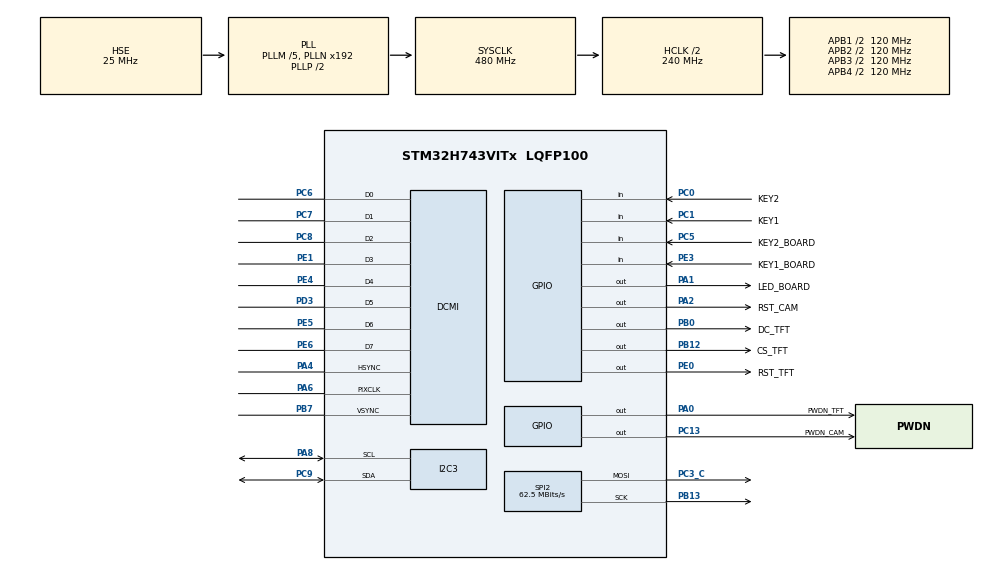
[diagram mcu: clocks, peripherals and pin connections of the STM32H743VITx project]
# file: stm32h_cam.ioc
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CORTEX_M7.CPU_DCache=Enabled
CORTEX_M7.CPU_ICache=Enabled
DCMI.JPEGMode=DCMI_JPEG_DISABLE
DCMI.PCKPolarity=DCMI_PCKPOLARITY_RISING
Dma.DCMI.1.Direction=DMA_PERIPH_TO_MEMORY
Dma.DCMI.1.EventEnable=DISABLE
Dma.DCMI.1.FIFOMode=DMA_FIFOMODE_ENABLE
Dma.DCMI.1.FIFOThreshold=DMA_FIFO_THRESHOLD_FULL
Dma.DCMI.1.Instance=DMA2_Stream1
Dma.DCMI.1.MemBurst=DMA_MBURST_SINGLE
Dma.DCMI.1.MemDataAlignment=DMA_MDATAALIGN_BYTE
Dma.DCMI.1.MemInc=DMA_MINC_ENABLE
Dma.DCMI.1.Mode=DMA_CIRCULAR
Dma.DCMI.1.PeriphBurst=DMA_PBURST_SINGLE
Dma.DCMI.1.PeriphDataAlignment=DMA_PDATAALIGN_WORD
Dma.DCMI.1.PeriphInc=DMA_PINC_DISABLE
Dma.DCMI.1.Polarity=HAL_DMAMUX_REQ_GEN_RISING
Dma.DCMI.1.Priority=DMA_PRIORITY_VERY_HIGH
Dma.DCMI.1.RequestNumber=1
Dma.DCMI.1.SignalID=NONE
Dma.DCMI.1.SyncEnable=DISABLE
Dma.DCMI.1.SyncPolarity=HAL_DMAMUX_SYNC_NO_EVENT
Dma.DCMI.1.SyncRequestNumber=1
Dma.DCMI.1.SyncSignalID=NONE
Dma.Request0=SPI2_TX
Dma.Request1=DCMI
Dma.SPI2_TX.0.Direction=DMA_MEMORY_TO_PERIPH
Dma.SPI2_TX.0.EventEnable=DISABLE
Dma.SPI2_TX.0.FIFOMode=DMA_FIFOMODE_DISABLE
Dma.SPI2_TX.0.Instance=DMA1_Stream7
Dma.SPI2_TX.0.MemDataAlignment=DMA_MDATAALIGN_BYTE
Dma.SPI2_TX.0.MemInc=DMA_MINC_ENABLE
Dma.SPI2_TX.0.Mode=DMA_NORMAL
Dma.SPI2_TX.0.PeriphDataAlignment=DMA_PDATAALIGN_BYTE
Dma.SPI2_TX.0.PeriphInc=DMA_PINC_DISABLE
Dma.SPI2_TX.0.Polarity=HAL_DMAMUX_REQ_GEN_RISING
Dma.SPI2_TX.0.Priority=DMA_PRIORITY_HIGH
Dma.SPI2_TX.0.RequestNumber=1
Dma.SPI2_TX.0.SignalID=NONE
Dma.SPI2_TX.0.SyncEnable=DISABLE
Dma.SPI2_TX.0.SyncPolarity=HAL_DMAMUX_SYNC_NO_EVENT
Dma.SPI2_TX.0.SyncRequestNumber=1
Dma.SPI2_TX.0.SyncSignalID=NONE
I2C3.Analog_Filter=I2C_ANALOGFILTER_ENABLE
I2C3.I2C_Coeff_DF=0
I2C3.I2C_Fall_Time=300
I2C3.I2C_Rise_Time=300
I2C3.Timing=0x70843A4F
Mcu.Family=STM32H7
Mcu.Name=STM32H743VITx
Mcu.Package=LQFP100
NVIC.DMA1_Stream7_IRQn=true\:0\:0\:false\:false\:true\:false\:true\:true
NVIC.DMA2_Stream1_IRQn=true\:0\:0\:false\:false\:true\:false\:true\:true
NVIC.PriorityGroup=NVIC_PRIORITYGROUP_4
NVIC.SPI2_IRQn=true\:0\:0\:false\:false\:true\:false\:true\:true
PA0.GPIO_Label=PWDN_TFT
PA0.GPIO_ModeDefaultOutputPP=GPIO_MODE_OUTPUT_OD
PA0.GPIO_PuPd=GPIO_PULLUP
PA0.PinState=GPIO_PIN_SET
PA0.Signal=GPIO_Output
PA1.GPIO_Label=LED_BOARD
PA1.Signal=GPIO_Output
PA13\ (JTMS/SWDIO).Mode=Serial_Wire
PA13\ (JTMS/SWDIO).Signal=DEBUG_JTMS-SWDIO
PA14\ (JTCK/SWCLK).Mode=Serial_Wire
PA14\ (JTCK/SWCLK).Signal=DEBUG_JTCK-SWCLK
PA2.GPIO_Label=RST_CAM
PA2.Signal=GPIO_Output
PA4.Mode=Slave_8_bits_External_Synchro
PA4.Signal=DCMI_HSYNC
PA6.Mode=Slave_8_bits_External_Synchro
PA6.Signal=DCMI_PIXCLK
PA8.Mode=I2C
PA8.Signal=I2C3_SCL
PB0.GPIO_Label=DC_TFT
PB0.GPIO_PuPd=GPIO_PULLUP
PB0.PinState=GPIO_PIN_SET
PB0.Signal=GPIO_Output
PB12.GPIO_Label=CS_TFT
PB12.GPIO_PuPd=GPIO_PULLUP
PB12.PinState=GPIO_PIN_SET
PB12.Signal=GPIO_Output
PB13.GPIO_Speed=GPIO_SPEED_FREQ_VERY_HIGH
PB13.Mode=TX_Only_Simplex_Unidirect_Master
PB13.Signal=SPI2_SCK
PB6.Signal=QUADSPI_BK1_NCS
PB7.Mode=Slave_8_bits_External_Synchro
PB7.Signal=DCMI_VSYNC
PC0.GPIO_Label=KEY2
PC0.Signal=GPIO_Input
PC1.GPIO_Label=KEY1
PC1.Signal=GPIO_Input
PC13.GPIO_Label=PWDN_CAM
PC13.PinState=GPIO_PIN_SET
PC13.Signal=GPIO_Output
PC14-OSC32_IN\ (OSC32_IN).Mode=LSE-External-Oscillator
PC14-OSC32_IN\ (OSC32_IN).Signal=RCC_OSC32_IN
PC15-OSC32_OUT\ (OSC32_OUT).Mode=LSE-External-Oscillator
PC15-OSC32_OUT\ (OSC32_OUT).Signal=RCC_OSC32_OUT
PC3_C.GPIO_Speed=GPIO_SPEED_FREQ_VERY_HIGH
PC3_C.Mode=TX_Only_Simplex_Unidirect_Master
PC3_C.Signal=SPI2_MOSI
PC5.GPIO_Label=KEY2_BOARD
PC5.Signal=GPIO_Input
PC6.Mode=Slave_8_bits_External_Synchro
PC6.Signal=DCMI_D0
PC7.Mode=Slave_8_bits_External_Synchro
PC7.Signal=DCMI_D1
PC8.Mode=Slave_8_bits_External_Synchro
PC8.Signal=DCMI_D2
PC9.Mode=I2C
PC9.Signal=I2C3_SDA
PD13.Signal=QUADSPI_BK1_IO3
PD3.Mode=Slave_8_bits_External_Synchro
PD3.Signal=DCMI_D5
PE0.GPIO_Label=RST_TFT
PE0.GPIO_PuPd=GPIO_PULLUP
PE0.PinState=GPIO_PIN_SET
PE0.Signal=GPIO_Output
PE1.Mode=Slave_8_bits_External_Synchro
PE1.Signal=DCMI_D3
PE3.GPIO_Label=KEY1_BOARD
PE3.Signal=GPIO_Input
PE4.Mode=Slave_8_bits_External_Synchro
PE4.Signal=DCMI_D4
PE5.Mode=Slave_8_bits_External_Synchro
PE5.Signal=DCMI_D6
PE6.Mode=Slave_8_bits_External_Synchro
PE6.Signal=DCMI_D7
PH0-OSC_IN\ (PH0).Mode=HSE-External-Oscillator
PH0-OSC_IN\ (PH0).Signal=RCC_OSC_IN
PH1-OSC_OUT\ (PH1).Mode=HSE-External-Oscillator
PH1-OSC_OUT\ (PH1).Signal=RCC_OSC_OUT
ProjectManager.HeapSize=0x200
ProjectManager.StackSize=0x400
ProjectManager.TargetToolchain=STM32CubeIDE
RCC.ADCFreq_Value=125000000
RCC.APB1Freq_Value=120000000
RCC.APB2Freq_Value=120000000
RCC.APB3Freq_Value=120000000
RCC.APB4Freq_Value=120000000
RCC.CortexFreq_Value=480000000
RCC.D1PPRE=RCC_APB3_DIV2
RCC.D2PPRE1=RCC_APB1_DIV2
RCC.D2PPRE2=RCC_APB2_DIV2
RCC.D3PPRE=RCC_APB4_DIV2
RCC.DIVM1=5
RCC.DIVM2=4
RCC.DIVN1=192
RCC.DIVN2=100
RCC.DIVP2=5
RCC.DIVQ1=20
RCC.HCLKFreq_Value=240000000
RCC.HPRE=RCC_HCLK_DIV2
RCC.PLLFRACN=0
RCC.PLLSourceVirtual=RCC_PLLSOURCE_HSE
RCC.RTCClockSelection=RCC_RTCCLKSOURCE_LSE
RCC.SPI123CLockSelection=RCC_SPI123CLKSOURCE_PLL2
RCC.SYSCLKFreq_VALUE=480000000
RCC.SYSCLKSource=RCC_SYSCLKSOURCE_PLLCLK
RCC.USBFreq_Value=48000000
SPI2.BaudRatePrescaler=SPI_BAUDRATEPRESCALER_2
SPI2.CalculateBaudRate=62.5 MBits/s
SPI2.DataSize=SPI_DATASIZE_8BIT
SPI2.Direction=SPI_DIRECTION_2LINES_TXONLY
SPI2.Mode=SPI_MODE_MASTER
SPI2.NSSPMode=SPI_NSS_PULSE_ENABLE
SPI2.VirtualType=VM_MASTER
VP_CRC_VS_CRC.Mode=CRC_Activate
VP_RTC_VS_RTC_Activate.Mode=RTC_Enabled
board=custom

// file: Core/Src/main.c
/* USER CODE BEGIN Header */
/**
  ******************************************************************************
  * @file           : main.c
  * @brief          : Main program body
  ******************************************************************************
  * @attention
  *
  * Copyright (c) 2022 STMicroelectronics.
  * All rights reserved.
  *
  * This software is licensed under terms that can be found in the LICENSE file
  * in the root directory of this software component.
  * If no LICENSE file comes with this software, it is provided AS-IS.
  *
  ******************************************************************************
  */
/* USER CODE END Header */
#include "main.h"

/* USER CODE BEGIN Includes */
#include "stdio.h"
#include "../Src/OV2640/ov2640.h"
#include "../Src/OV2640/ov2640_regs.h"
/* USER CODE END Includes */

CRC_HandleTypeDef hcrc;

DCMI_HandleTypeDef hdcmi;
DMA_HandleTypeDef hdma_dcmi;

I2C_HandleTypeDef hi2c3;

RTC_HandleTypeDef hrtc;

SPI_HandleTypeDef hspi2;
DMA_HandleTypeDef hdma_spi2_tx;

/* USER CODE BEGIN PV */
sensor_t sensor = {0};
//Streem_State_t SPI_State;
//Streem_State_t DCMI_State;
//defined in sensor.h

#if defined RGB565_128X128
__attribute__((section(".frame_buffer")))int8_t imag[RGB565_128X128_BUF_SIZE] = {0};
#elif defined RGB565_160X160
__attribute__((section(".frame_buffer")))int8_t imag[RGB565_160X160_BUF_SIZE] = {0};
#elif defined RGB565_QVGA
__attribute__((section(".frame_buffer")))int8_t imag[RGB565_QVGA_BUF_SIZE] = {0};
#elif defined RGB565_VGA
int8_t imag[RGB565_VGA_BUF_SIZE] = {0};
#endif
/* USER CODE END PV */

void SystemClock_Config(void);
static void MX_GPIO_Init(void);
static void MX_DCMI_Init(void);
static void MX_DMA_Init(void);
static void MX_SPI2_Init(void);
static void MX_I2C3_Init(void);
static void MX_RTC_Init(void);
static void MX_CRC_Init(void);
/* USER CODE BEGIN PFP */
static void sensor_setting(I2C_HandleTypeDef *camera_i2c);
void mySystemClock_Config(void);
/* USER CODE END PFP */

int main(void)
{

  /* Enable I-Cache---------------------------------------------------------*/
  SCB_EnableICache();

  /* Enable D-Cache---------------------------------------------------------*/
  SCB_EnableDCache();

  /* MCU Configuration--------------------------------------------------------*/

  /* Reset of all peripherals, Initializes the Flash interface and the Systick. */
  HAL_Init();

  /* Configure the system clock */
  SystemClock_Config();

  /* USER CODE BEGIN SysInit */
// Не правильно сначала должно быть инициализация MX_DMA_Init(); потом   MX_DCMI_Init();
   MX_DMA_Init();
   MX_DCMI_Init();
  /* USER CODE END SysInit */

  /* Initialize all configured peripherals */
  MX_GPIO_Init();
  MX_DCMI_Init();
  MX_DMA_Init();
  MX_SPI2_Init();
  MX_I2C3_Init();
  MX_RTC_Init();
  MX_CRC_Init();
  /* USER CODE BEGIN 2 */

   HAL_GPIO_WritePin(RST_CAM_GPIO_Port, RST_CAM_Pin, GPIO_PIN_SET);
   HAL_GPIO_WritePin(PWDN_CAM_GPIO_Port, PWDN_CAM_Pin, GPIO_PIN_RESET);
   sensor_setting(&hi2c3);

  ILI9341_Init();
//  HAL_GPIO_WritePin(LED_BOARD_GPIO_Port, LED_BOARD_Pin, GPIO_PIN_RESET); // Установить светодиод  1
  HAL_GPIO_WritePin(PWDN_TFT_GPIO_Port, PWDN_TFT_Pin, GPIO_PIN_RESET);     // Включить подсветку дисплея
  ILI9341_FillScreen(WHITE);
  ILI9341_SetRotation(SCREEN_HORIZONTAL_1);
  ILI9341_DrawHLine(0, 225, 320, RED);
  ILI9341_DrawText("Start testing", FONT2, 2, 226, BLACK, WHITE);

  uint32_t old_time, fps;
  char buf[64];
  /* USER CODE END 2 */

  /* Infinite loop */
  /* USER CODE BEGIN WHILE */
  while (1)
  {
	         old_time=HAL_GetTick();
		     sensor.snapshot(hdcmi, (int32_t *)imag);
		     ILI9341_render320x240((uint16_t *)imag,240-15);
		     fps=HAL_GetTick()-old_time;
		     sprintf(buf,"FPS=%d      ",(int)(1000/fps));
		     ILI9341_DrawText(buf, FONT2, 2, 226, BLACK, WHITE);

    /* USER CODE END WHILE */

  }
}

void SystemClock_Config(void)
{
  RCC_OscInitTypeDef RCC_OscInitStruct = {0};
  RCC_ClkInitTypeDef RCC_ClkInitStruct = {0};

  /** Supply configuration update enable
  */
  HAL_PWREx_ConfigSupply(PWR_LDO_SUPPLY);
  /** Configure the main internal regulator output voltage
  */
  __HAL_PWR_VOLTAGESCALING_CONFIG(PWR_REGULATOR_VOLTAGE_SCALE0);

  while(!__HAL_PWR_GET_FLAG(PWR_FLAG_VOSRDY)) {}
  /** Configure LSE Drive Capability
  */
  HAL_PWR_EnableBkUpAccess();
  __HAL_RCC_LSEDRIVE_CONFIG(RCC_LSEDRIVE_LOW);
  /** Macro to configure the PLL clock source
  */
  __HAL_RCC_PLL_PLLSOURCE_CONFIG(RCC_PLLSOURCE_HSE);
  /** Initializes the RCC Oscillators according to the specified parameters
  * in the RCC_OscInitTypeDef structure.
  */
  RCC_OscInitStruct.OscillatorType = RCC_OSCILLATORTYPE_HSE|RCC_OSCILLATORTYPE_LSE;
  RCC_OscInitStruct.HSEState = RCC_HSE_ON;
  RCC_OscInitStruct.LSEState = RCC_LSE_ON;
  RCC_OscInitStruct.PLL.PLLState = RCC_PLL_ON;
  RCC_OscInitStruct.PLL.PLLSource = RCC_PLLSOURCE_HSE;
  RCC_OscInitStruct.PLL.PLLM = 5;
  RCC_OscInitStruct.PLL.PLLN = 192;
  RCC_OscInitStruct.PLL.PLLP = 2;
  RCC_OscInitStruct.PLL.PLLQ = 20;
  RCC_OscInitStruct.PLL.PLLR = 2;
  RCC_OscInitStruct.PLL.PLLRGE = RCC_PLL1VCIRANGE_2;
  RCC_OscInitStruct.PLL.PLLVCOSEL = RCC_PLL1VCOWIDE;
  RCC_OscInitStruct.PLL.PLLFRACN = 0;
  if (HAL_RCC_OscConfig(&RCC_OscInitStruct) != HAL_OK)
  {
    Error_Handler();
  }
  /** Initializes the CPU, AHB and APB buses clocks
  */
  RCC_ClkInitStruct.ClockType = RCC_CLOCKTYPE_HCLK|RCC_CLOCKTYPE_SYSCLK
                              |RCC_CLOCKTYPE_PCLK1|RCC_CLOCKTYPE_PCLK2
                              |RCC_CLOCKTYPE_D3PCLK1|RCC_CLOCKTYPE_D1PCLK1;
  RCC_ClkInitStruct.SYSCLKSource = RCC_SYSCLKSOURCE_PLLCLK;
  RCC_ClkInitStruct.SYSCLKDivider = RCC_SYSCLK_DIV1;
  RCC_ClkInitStruct.AHBCLKDivider = RCC_HCLK_DIV2;
  RCC_ClkInitStruct.APB3CLKDivider = RCC_APB3_DIV2;
  RCC_ClkInitStruct.APB1CLKDivider = RCC_APB1_DIV2;
  RCC_ClkInitStruct.APB2CLKDivider = RCC_APB2_DIV2;
  RCC_ClkInitStruct.APB4CLKDivider = RCC_APB4_DIV2;

  if (HAL_RCC_ClockConfig(&RCC_ClkInitStruct, FLASH_LATENCY_4) != HAL_OK)
  {
    Error_Handler();
  }
}

static void MX_CRC_Init(void)
{

  hcrc.Instance = CRC;
  hcrc.Init.DefaultPolynomialUse = DEFAULT_POLYNOMIAL_ENABLE;
  hcrc.Init.DefaultInitValueUse = DEFAULT_INIT_VALUE_ENABLE;
  hcrc.Init.InputDataInversionMode = CRC_INPUTDATA_INVERSION_NONE;
  hcrc.Init.OutputDataInversionMode = CRC_OUTPUTDATA_INVERSION_DISABLE;
  hcrc.InputDataFormat = CRC_INPUTDATA_FORMAT_BYTES;
  if (HAL_CRC_Init(&hcrc) != HAL_OK)
  {
    Error_Handler();
  }

}

static void MX_DCMI_Init(void)
{

  hdcmi.Instance = DCMI;
  hdcmi.Init.SynchroMode = DCMI_SYNCHRO_HARDWARE;
  hdcmi.Init.PCKPolarity = DCMI_PCKPOLARITY_RISING;
  hdcmi.Init.VSPolarity = DCMI_VSPOLARITY_LOW;
  hdcmi.Init.HSPolarity = DCMI_HSPOLARITY_LOW;
  hdcmi.Init.CaptureRate = DCMI_CR_ALL_FRAME;
  hdcmi.Init.ExtendedDataMode = DCMI_EXTEND_DATA_8B;
  hdcmi.Init.JPEGMode = DCMI_JPEG_DISABLE;
  hdcmi.Init.ByteSelectMode = DCMI_BSM_ALL;
  hdcmi.Init.ByteSelectStart = DCMI_OEBS_ODD;
  hdcmi.Init.LineSelectMode = DCMI_LSM_ALL;
  hdcmi.Init.LineSelectStart = DCMI_OELS_ODD;
  if (HAL_DCMI_Init(&hdcmi) != HAL_OK)
  {
    Error_Handler();
  }

}

static void MX_I2C3_Init(void)
{

  hi2c3.Instance = I2C3;
  hi2c3.Init.Timing = 0x70843A4F;
  hi2c3.Init.OwnAddress1 = 0;
  hi2c3.Init.AddressingMode = I2C_ADDRESSINGMODE_7BIT;
  hi2c3.Init.DualAddressMode = I2C_DUALADDRESS_DISABLE;
  hi2c3.Init.OwnAddress2 = 0;
  hi2c3.Init.OwnAddress2Masks = I2C_OA2_NOMASK;
  hi2c3.Init.GeneralCallMode = I2C_GENERALCALL_DISABLE;
  hi2c3.Init.NoStretchMode = I2C_NOSTRETCH_DISABLE;
  if (HAL_I2C_Init(&hi2c3) != HAL_OK)
  {
    Error_Handler();
  }
  /** Configure Analogue filter
  */
  if (HAL_I2CEx_ConfigAnalogFilter(&hi2c3, I2C_ANALOGFILTER_ENABLE) != HAL_OK)
  {
    Error_Handler();
  }
  /** Configure Digital filter
  */
  if (HAL_I2CEx_ConfigDigitalFilter(&hi2c3, 0) != HAL_OK)
  {
    Error_Handler();
  }

}

static void MX_RTC_Init(void)
{

  /** Initialize RTC Only
  */
  hrtc.Instance = RTC;
  hrtc.Init.HourFormat = RTC_HOURFORMAT_24;
  hrtc.Init.AsynchPrediv = 127;
  hrtc.Init.SynchPrediv = 255;
  hrtc.Init.OutPut = RTC_OUTPUT_DISABLE;
  hrtc.Init.OutPutPolarity = RTC_OUTPUT_POLARITY_HIGH;
  hrtc.Init.OutPutType = RTC_OUTPUT_TYPE_OPENDRAIN;
  hrtc.Init.OutPutRemap = RTC_OUTPUT_REMAP_NONE;
  if (HAL_RTC_Init(&hrtc) != HAL_OK)
  {
    Error_Handler();
  }

}

static void MX_SPI2_Init(void)
{

  /* SPI2 parameter configuration*/
  hspi2.Instance = SPI2;
  hspi2.Init.Mode = SPI_MODE_MASTER;
  hspi2.Init.Direction = SPI_DIRECTION_2LINES_TXONLY;
  hspi2.Init.DataSize = SPI_DATASIZE_8BIT;
  hspi2.Init.CLKPolarity = SPI_POLARITY_LOW;
  hspi2.Init.CLKPhase = SPI_PHASE_1EDGE;
  hspi2.Init.NSS = SPI_NSS_SOFT;
  hspi2.Init.BaudRatePrescaler = SPI_BAUDRATEPRESCALER_2;
  hspi2.Init.FirstBit = SPI_FIRSTBIT_MSB;
  hspi2.Init.TIMode = SPI_TIMODE_DISABLE;
  hspi2.Init.CRCCalculation = SPI_CRCCALCULATION_DISABLE;
  hspi2.Init.CRCPolynomial = 0x0;
  hspi2.Init.NSSPMode = SPI_NSS_PULSE_ENABLE;
  hspi2.Init.NSSPolarity = SPI_NSS_POLARITY_LOW;
  hspi2.Init.FifoThreshold = SPI_FIFO_THRESHOLD_01DATA;
  hspi2.Init.TxCRCInitializationPattern = SPI_CRC_INITIALIZATION_ALL_ZERO_PATTERN;
  hspi2.Init.RxCRCInitializationPattern = SPI_CRC_INITIALIZATION_ALL_ZERO_PATTERN;
  hspi2.Init.MasterSSIdleness = SPI_MASTER_SS_IDLENESS_00CYCLE;
  hspi2.Init.MasterInterDataIdleness = SPI_MASTER_INTERDATA_IDLENESS_00CYCLE;
  hspi2.Init.MasterReceiverAutoSusp = SPI_MASTER_RX_AUTOSUSP_DISABLE;
  hspi2.Init.MasterKeepIOState = SPI_MASTER_KEEP_IO_STATE_DISABLE;
  hspi2.Init.IOSwap = SPI_IO_SWAP_DISABLE;
  if (HAL_SPI_Init(&hspi2) != HAL_OK)
  {
    Error_Handler();
  }

}

static void MX_DMA_Init(void)
{

  /* DMA controller clock enable */
  __HAL_RCC_DMA1_CLK_ENABLE();
  __HAL_RCC_DMA2_CLK_ENABLE();

  /* DMA interrupt init */
  /* DMA1_Stream7_IRQn interrupt configuration */
  HAL_NVIC_SetPriority(DMA1_Stream7_IRQn, 0, 0);
  HAL_NVIC_EnableIRQ(DMA1_Stream7_IRQn);
  /* DMA2_Stream1_IRQn interrupt configuration */
  HAL_NVIC_SetPriority(DMA2_Stream1_IRQn, 0, 0);
  HAL_NVIC_EnableIRQ(DMA2_Stream1_IRQn);

}

static void MX_GPIO_Init(void)
{
  GPIO_InitTypeDef GPIO_InitStruct = {0};

  /* GPIO Ports Clock Enable */
  __HAL_RCC_GPIOE_CLK_ENABLE();
  __HAL_RCC_GPIOC_CLK_ENABLE();
  __HAL_RCC_GPIOH_CLK_ENABLE();
  __HAL_RCC_GPIOA_CLK_ENABLE();
  __HAL_RCC_GPIOB_CLK_ENABLE();
  __HAL_RCC_GPIOD_CLK_ENABLE();

  /*Configure GPIO pin Output Level */
  HAL_GPIO_WritePin(PWDN_CAM_GPIO_Port, PWDN_CAM_Pin, GPIO_PIN_SET);

  /*Configure GPIO pin Output Level */
  HAL_GPIO_WritePin(PWDN_TFT_GPIO_Port, PWDN_TFT_Pin, GPIO_PIN_SET);

  /*Configure GPIO pin Output Level */
  HAL_GPIO_WritePin(GPIOA, LED_BOARD_Pin|RST_CAM_Pin, GPIO_PIN_RESET);

  /*Configure GPIO pin Output Level */
  HAL_GPIO_WritePin(GPIOB, DC_TFT_Pin|CS_TFT_Pin, GPIO_PIN_SET);

  /*Configure GPIO pin Output Level */
  HAL_GPIO_WritePin(RST_TFT_GPIO_Port, RST_TFT_Pin, GPIO_PIN_SET);

  /*Configure GPIO pin : KEY1_BOARD_Pin */
  GPIO_InitStruct.Pin = KEY1_BOARD_Pin;
  GPIO_InitStruct.Mode = GPIO_MODE_INPUT;
  GPIO_InitStruct.Pull = GPIO_NOPULL;
  HAL_GPIO_Init(KEY1_BOARD_GPIO_Port, &GPIO_InitStruct);

  /*Configure GPIO pin : PWDN_CAM_Pin */
  GPIO_InitStruct.Pin = PWDN_CAM_Pin;
  GPIO_InitStruct.Mode = GPIO_MODE_OUTPUT_PP;
  GPIO_InitStruct.Pull = GPIO_NOPULL;
  GPIO_InitStruct.Speed = GPIO_SPEED_FREQ_LOW;
  HAL_GPIO_Init(PWDN_CAM_GPIO_Port, &GPIO_InitStruct);

  /*Configure GPIO pins : KEY2_Pin KEY1_Pin KEY2_BOARD_Pin */
  GPIO_InitStruct.Pin = KEY2_Pin|KEY1_Pin|KEY2_BOARD_Pin;
  GPIO_InitStruct.Mode = GPIO_MODE_INPUT;
  GPIO_InitStruct.Pull = GPIO_NOPULL;
  HAL_GPIO_Init(GPIOC, &GPIO_InitStruct);

  /*Configure GPIO pin : PWDN_TFT_Pin */
  GPIO_InitStruct.Pin = PWDN_TFT_Pin;
  GPIO_InitStruct.Mode = GPIO_MODE_OUTPUT_OD;
  GPIO_InitStruct.Pull = GPIO_PULLUP;
  GPIO_InitStruct.Speed = GPIO_SPEED_FREQ_LOW;
  HAL_GPIO_Init(PWDN_TFT_GPIO_Port, &GPIO_InitStruct);

  /*Configure GPIO pins : LED_BOARD_Pin RST_CAM_Pin */
  GPIO_InitStruct.Pin = LED_BOARD_Pin|RST_CAM_Pin;
  GPIO_InitStruct.Mode = GPIO_MODE_OUTPUT_PP;
  GPIO_InitStruct.Pull = GPIO_NOPULL;
  GPIO_InitStruct.Speed = GPIO_SPEED_FREQ_LOW;
  HAL_GPIO_Init(GPIOA, &GPIO_InitStruct);

  /*Configure GPIO pins : DC_TFT_Pin CS_TFT_Pin */
  GPIO_InitStruct.Pin = DC_TFT_Pin|CS_TFT_Pin;
  GPIO_InitStruct.Mode = GPIO_MODE_OUTPUT_PP;
  GPIO_InitStruct.Pull = GPIO_PULLUP;
  GPIO_InitStruct.Speed = GPIO_SPEED_FREQ_LOW;
  HAL_GPIO_Init(GPIOB, &GPIO_InitStruct);

  /*Configure GPIO pin : PD13 */
  GPIO_InitStruct.Pin = GPIO_PIN_13;
  GPIO_InitStruct.Mode = GPIO_MODE_AF_PP;
  GPIO_InitStruct.Pull = GPIO_NOPULL;
  GPIO_InitStruct.Speed = GPIO_SPEED_FREQ_LOW;
  GPIO_InitStruct.Alternate = GPIO_AF9_QUADSPI;
  HAL_GPIO_Init(GPIOD, &GPIO_InitStruct);

  /*Configure GPIO pin : PB6 */
  GPIO_InitStruct.Pin = GPIO_PIN_6;
  GPIO_InitStruct.Mode = GPIO_MODE_AF_PP;
  GPIO_InitStruct.Pull = GPIO_NOPULL;
  GPIO_InitStruct.Speed = GPIO_SPEED_FREQ_LOW;
  GPIO_InitStruct.Alternate = GPIO_AF10_QUADSPI;
  HAL_GPIO_Init(GPIOB, &GPIO_InitStruct);

  /*Configure GPIO pin : RST_TFT_Pin */
  GPIO_InitStruct.Pin = RST_TFT_Pin;
  GPIO_InitStruct.Mode = GPIO_MODE_OUTPUT_PP;
  GPIO_InitStruct.Pull = GPIO_PULLUP;
  GPIO_InitStruct.Speed = GPIO_SPEED_FREQ_LOW;
  HAL_GPIO_Init(RST_TFT_GPIO_Port, &GPIO_InitStruct);

}

/* USER CODE BEGIN 4 */
// Установка камеры
static void sensor_setting(I2C_HandleTypeDef *camera_i2c)
{
	  sensor.bus.i2c = camera_i2c;
	  ov2640_init(&sensor);

	  sensor.write_reg(&sensor, BANK_SEL, 0x01);
	  if(sensor.read_reg(&sensor, REG_PID) != sensor.pid)
	  {
		  Error_Handler();
	  }
	  if(sensor.read_reg(&sensor, REG_VER) != sensor.rev)
	  {
		  Error_Handler();
	  }

	  sensor.pixformat = PIXFORMAT_RGB565;
	#if defined RGB565_128X128
	  sensor.framesize = FRAMESIZE_128X128;
	#elif defined RGB565_160X160
	  sensor.framesize = FRAMESIZE_160X160;
	#elif defined RGB565_QVGA
	sensor.framesize = FRAMESIZE_QVGA;
	#elif defined RGB565_VGA
	sensor.framesize = FRAMESIZE_VGA;
	#endif

	  sensor.contrast_level = 1;   // 2
	  sensor.brightness_level = 2; // 2
	  sensor.saturation_level = 2; // 2

	  if(sensor.reset(&sensor) == -1)
	  {
		  Error_Handler();
	  }
	  if(sensor.set(&sensor) == -1)
	  {
		  Error_Handler();
	  }
}
// Правильная настройка генератора (иногда куб чудит и убирает внешний кварц)
void mySystemClock_Config(void)
{
  RCC_OscInitTypeDef RCC_OscInitStruct = {0};
  RCC_ClkInitTypeDef RCC_ClkInitStruct = {0};

  /** Supply configuration update enable
  */
  HAL_PWREx_ConfigSupply(PWR_LDO_SUPPLY);
  /** Configure the main internal regulator output voltage
  */
  __HAL_PWR_VOLTAGESCALING_CONFIG(PWR_REGULATOR_VOLTAGE_SCALE0);

  while(!__HAL_PWR_GET_FLAG(PWR_FLAG_VOSRDY)) {}
  /** Configure LSE Drive Capability
  */
  HAL_PWR_EnableBkUpAccess();
  __HAL_RCC_LSEDRIVE_CONFIG(RCC_LSEDRIVE_LOW);
  /** Macro to configure the PLL clock source
  */
  __HAL_RCC_PLL_PLLSOURCE_CONFIG(RCC_PLLSOURCE_HSE);
  /** Initializes the RCC Oscillators according to the specified parameters
  * in the RCC_OscInitTypeDef structure.
  */
  RCC_OscInitStruct.OscillatorType = RCC_OSCILLATORTYPE_HSE|RCC_OSCILLATORTYPE_LSE;
  RCC_OscInitStruct.HSEState = RCC_HSE_ON;
  RCC_OscInitStruct.LSEState = RCC_LSE_ON;
  RCC_OscInitStruct.PLL.PLLState = RCC_PLL_ON;
  RCC_OscInitStruct.PLL.PLLSource = RCC_PLLSOURCE_HSE;
  RCC_OscInitStruct.PLL.PLLM = 5;
  RCC_OscInitStruct.PLL.PLLN = 192;
  RCC_OscInitStruct.PLL.PLLP = 2;
  RCC_OscInitStruct.PLL.PLLQ = 20;
  RCC_OscInitStruct.PLL.PLLR = 2;
  RCC_OscInitStruct.PLL.PLLRGE = RCC_PLL1VCIRANGE_2;
  RCC_OscInitStruct.PLL.PLLVCOSEL = RCC_PLL1VCOWIDE;
  RCC_OscInitStruct.PLL.PLLFRACN = 0;
  if (HAL_RCC_OscConfig(&RCC_OscInitStruct) != HAL_OK)
  {
    Error_Handler();
  }
  /** Initializes the CPU, AHB and APB buses clocks
  */
  RCC_ClkInitStruct.ClockType = RCC_CLOCKTYPE_HCLK|RCC_CLOCKTYPE_SYSCLK
                              |RCC_CLOCKTYPE_PCLK1|RCC_CLOCKTYPE_PCLK2
                              |RCC_CLOCKTYPE_D3PCLK1|RCC_CLOCKTYPE_D1PCLK1;
  RCC_ClkInitStruct.SYSCLKSource = RCC_SYSCLKSOURCE_PLLCLK;
  RCC_ClkInitStruct.SYSCLKDivider = RCC_SYSCLK_DIV1;
  RCC_ClkInitStruct.AHBCLKDivider = RCC_HCLK_DIV2;
  RCC_ClkInitStruct.APB3CLKDivider = RCC_APB3_DIV2;
  RCC_ClkInitStruct.APB1CLKDivider = RCC_APB1_DIV2;
  RCC_ClkInitStruct.APB2CLKDivider = RCC_APB2_DIV2;
  RCC_ClkInitStruct.APB4CLKDivider = RCC_APB4_DIV2;

  if (HAL_RCC_ClockConfig(&RCC_ClkInitStruct, FLASH_LATENCY_4) != HAL_OK)
  {
    Error_Handler();
  }
}

/* USER CODE END 4 */

void Error_Handler(void)
{
  __disable_irq();
  while (1)
  {
  }
}
